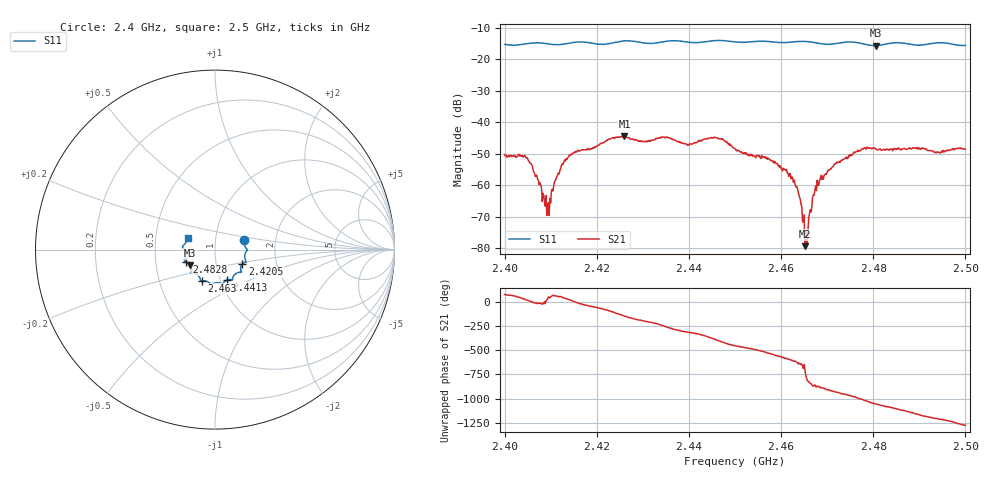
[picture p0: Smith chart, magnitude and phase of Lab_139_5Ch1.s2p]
# Hz S RI R 50
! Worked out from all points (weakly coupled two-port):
!   601 points, 2.4 GHz to 2.5 GHz, reference 50 ohm
!   highest |S21| = -44.50 dB at 2.426 GHz (marker M1); lowest = -79.3 dB at 2.4652 GHz (marker M2)
!   lowest |S11| = -15.7 dB at 2.4805 GHz (marker M3), VSWR 1.39, Z = 37.3 - j6.67 ohm
!   |S11| at or under -10 dB: start of sweep to end of sweep
!   S12 and S22 are empty: the file has one direction only
!   S11 on the Smith chart (normalised r, x): 2.4 GHz: 1.38, +0.15; 2.4205 GHz: 1.34, -0.22; 2.4413 GHz: 1.08, -0.38; 2.463 GHz: 0.82, -0.29; 2.4828 GHz: 0.72, -0.10; 2.5 GHz: 0.73, +0.10
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2.4e9  0.1626 0.0522  0.000647 0.00299  0 0  0 0
2.404833e9  0.1754 0.00493  0.0026 0.000886  0 0  0 0
2.409167e9  0.1749 -0.00842  0.0003 0.00014  0 0  0 0
2.412833e9  0.1664 -0.0464  0.00164 0.00161  0 0  0 0
2.416667e9  0.1737 -0.0694  0.00346 -0.00114  0 0  0 0
2.4205e9  0.1519 -0.0807  0.00209 -0.0038  0 0  0 0
2.426e9  0.148 -0.1258  -0.00487 -0.00343  0 0  0 0
2.433333e9  0.1005 -0.1515  -0.00367 0.00428  0 0  0 0
2.441333e9  0.067 -0.1694  0.00374 0.00281  0 0  0 0
2.446e9  0.0422 -0.1924  0.0048 -0.00301  0 0  0 0
2.45e9  0.0249 -0.1855  -0.00027 -0.0038  0 0  0 0
2.458667e9  -0.035 -0.1824  -0.00234 0.00042  0 0  0 0
2.463e9  -0.0722 -0.1736  -0.000314 0.00101  0 0  0 0
2.465167e9  -0.0798 -0.1732  0.000104 3.12e-05  0 0  0 0
2.465667e9  -0.0804 -0.1718  2.55e-06 -0.000113  0 0  0 0
2.466667e9  -0.0814 -0.1674  -0.000284 -0.000339  0 0  0 0
2.468333e9  -0.0859 -0.1546  -0.0011 -0.000458  0 0  0 0
2.471667e9  -0.115 -0.1319  -0.00188 0.00105  0 0  0 0
2.4805e9  -0.1384 -0.0869  0.00348 0.00158  0 0  0 0
2.482833e9  -0.1589 -0.0699  0.00374 -0.000127  0 0  0 0
2.483333e9  -0.1627 -0.0681  0.00363 -0.00041  0 0  0 0
2.5e9  -0.1519 0.0643  -0.00353 0.00117  0 0  0 0
